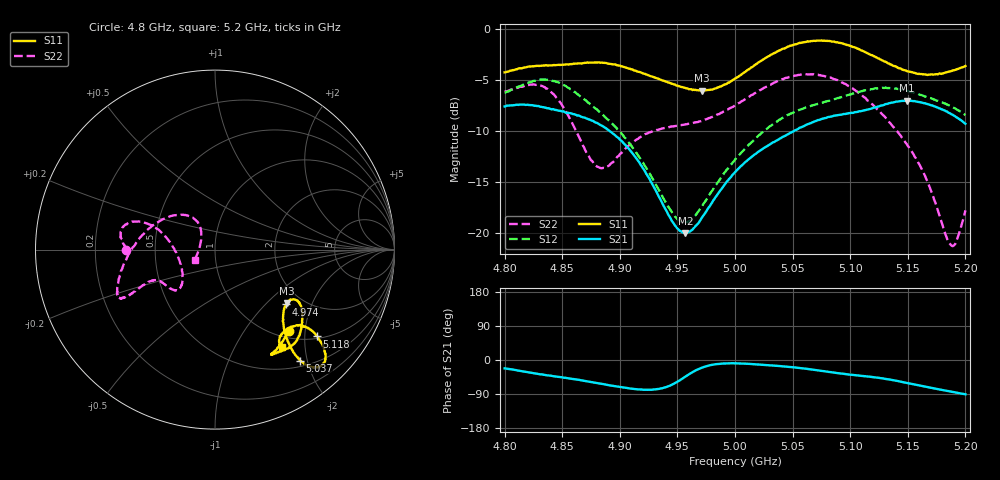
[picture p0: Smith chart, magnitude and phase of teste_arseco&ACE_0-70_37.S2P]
! Network Analyzer HP8722D
! Hewlett-Packard
! Data name: Linha & Wilkinson
! Saver's name: Rodrigo Anjos
! Comments: Teste da utilização de aquisição
! continua pelo VNA HP8722D
! Time and date: 8/5/2025 13:04
!  Frequency  S11  S21  S12  S22
# HZ  S  MA R 50
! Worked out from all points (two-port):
!   401 points, 4.8 GHz to 5.2 GHz, reference 50 ohm
!   highest |S21| = -7.03 dB at 5.149 GHz (marker M1); lowest = -20.0 dB at 4.957 GHz (marker M2)
!   |S21| within 3 dB of the highest: start of sweep to 4.891 GHz; 5.051 GHz to end of sweep
!   lowest |S11| = -6.0 dB at 4.971 GHz (marker M3), VSWR 2.99, Z = 84 - j66.4 ohm
!   |S11| at or under -10 dB: nowhere
!   |S22| runs from -21.3 to -4.4 dB; largest |S21 - S12| = 0.95
!   S11 on the Smith chart (normalised r, x): 4.8 GHz: 1.14, -1.65; 4.974 GHz: 1.64, -1.33; 5.037 GHz: 0.60, -1.87; 5.118 GHz: 1.05, -2.30; 5.2 GHz: 0.82, -1.57
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4.8e9  0.6127 -47.6  0.4165 -22.0  0.4873 -175.9  0.4936 -180.0
4.836e9  0.665 -61.6  0.4104 -39.7  0.5639 168.2  0.5101 163.9
4.85e9  0.6676 -60.0  0.3942 -45.7  0.5358 159.1  0.4216 159.1
4.867e9  0.6776 -54.9  0.3701 -53.9  0.4607 150.8  0.276 166.7
4.886e9  0.683 -48.5  0.3307 -63.7  0.3759 144.2  0.2081 -158.4
4.908e9  0.6397 -40.9  0.2575 -74.9  0.2761 138.0  0.2685 -133.7
4.934e9  0.5686 -33.1  0.1498 -76.3  0.162 141.1  0.321 -135.4
4.948e9  0.5334 -31.9  0.1082 -60.9  0.1198 157.3  0.3339 -141.0
4.957e9  0.5138 -32.8  0.09969 -43.7  0.1122 174.6  0.3405 -145.0
4.971e9  0.4986 -36.5  0.1174 -20.6  0.134 -162.3  0.354 -150.5
4.974e9  0.4995 -37.7  0.1245 -17.4  0.1422 -159.1  0.3596 -151.2
5e9  0.5708 -47.9  0.198 -8.8  0.2284 -146.8  0.4224 -153.9
5.037e9  0.7778 -52.7  0.2852 -15.6  0.3528 -147.7  0.5547 -152.1
5.067e9  0.8733 -48.4  0.3479 -25.2  0.4219 -154.5  0.5989 -155.1
5.096e9  0.841 -43.2  0.3828 -37.1  0.4697 -162.8  0.5372 -167.2
5.118e9  0.746 -40.4  0.4059 -44.5  0.5064 -173.1  0.4332 173.4
5.134e9  0.6756 -40.3  0.4326 -51.4  0.513 177.4  0.3481 153.1
5.149e9  0.6226 -42.6  0.4449 -60.4  0.4973 168.7  0.2726 134.5
5.166e9  0.5977 -48.5  0.4298 -71.0  0.4648 161.2  0.1835 122.1
5.187e9  0.6203 -54.9  0.3844 -83.3  0.418 153.8  0.08747 158.5
5.192e9  0.6327 -55.5  0.3692 -86.0  0.4043 152.1  0.09018 -178.5
5.2e9  0.6583 -55.7  0.3427 -90.5  0.3778 149.4  0.1286 -152.3
